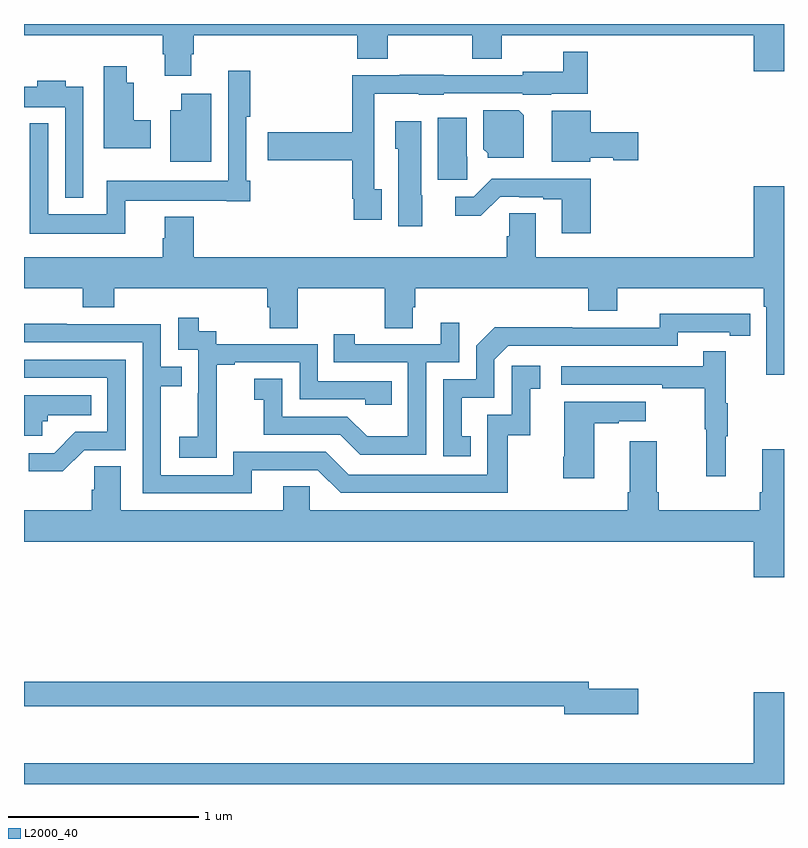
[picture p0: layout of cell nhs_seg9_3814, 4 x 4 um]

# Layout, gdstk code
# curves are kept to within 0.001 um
import gdstk
lib = gdstk.Library(unit=1e-6, precision=1e-09)
def P(c, l, *ps):  # polygons
    for p in ps: c.add(gdstk.Polygon(p, *l))
L2000_40 = (2000, 40)

nhs_seg9_3814 = lib.new_cell('nhs_seg9_3814')
P(nhs_seg9_3814, L2000_40, [(329.881,1176.342),(329.894,1176.342),(329.894,1176.44),(330.755,1176.44),(330.755,1176.316),(330.915,1176.316),(330.915,1176.44),(331.36,1176.44),(331.36,1176.316),(331.515,1176.316),(331.515,1176.44),(332.84,1176.44),(332.84,1176.252),(333,1176.252),(333,1176.5),(329,1176.5),(329,1176.44),(329.729,1176.44),(329.729,1176.342),(329.741,1176.342),(329.741,1176.228),(329.881,1176.228)],
  [(330.883,1175.63),(330.843,1175.63),(330.843,1176.134),(331.077,1176.134),(331.077,1176.128),(331.209,1176.128),(331.209,1176.135),(331.626,1176.135),(331.626,1176.128),(331.776,1176.128),(331.776,1176.134),(331.967,1176.134),(331.967,1176.355),(331.839,1176.355),(331.839,1176.25),(331.626,1176.25),(331.626,1176.231),(331.209,1176.231),(331.209,1176.233),(330.977,1176.233),(330.977,1176.231),(330.727,1176.231),(330.727,1175.93),(330.282,1175.93),(330.282,1175.783),(330.727,1175.783),(330.727,1175.581),(330.735,1175.581),(330.735,1175.469),(330.883,1175.469)],
  [(329.668,1175.994),(329.578,1175.994),(329.578,1176.19),(329.542,1176.19),(329.542,1176.277),(329.42,1176.277),(329.42,1175.846),(329.668,1175.846)],
  [(329.534,1175.57),(330.068,1175.57),(330.068,1175.568),(330.191,1175.568),(330.191,1175.674),(330.171,1175.674),(330.171,1176.013),(330.191,1176.013),(330.191,1176.253),(330.075,1176.253),(330.075,1175.674),(329.436,1175.674),(329.436,1175.5),(329.127,1175.5),(329.127,1175.977),(329.03,1175.977),(329.03,1175.396),(329.534,1175.396)],
  [(329.313,1176.169),(329.221,1176.169),(329.221,1176.202),(329.069,1176.202),(329.069,1176.169),(329,1176.169),(329,1176.062),(329.217,1176.062),(329.217,1175.585),(329.313,1175.585)],
  [(329.986,1176.133),(329.828,1176.133),(329.828,1176.046),(329.771,1176.046),(329.771,1175.774),(329.986,1175.774)],
  [(331.63,1176.02),(331.604,1176.046),(331.418,1176.046),(331.418,1175.842),(331.44,1175.82),(331.44,1175.795),(331.63,1175.795)],
  [(331.98,1175.795),(332.1,1175.795),(332.1,1175.783),(332.233,1175.783),(332.233,1175.93),(331.984,1175.93),(331.984,1176.044),(331.778,1176.044),(331.778,1175.774),(331.98,1175.774)],
  [(331.334,1175.802),(331.33,1175.802),(331.33,1176.007),(331.178,1176.007),(331.178,1175.679),(331.334,1175.679)],
  [(331.096,1175.598),(331.09,1175.598),(331.09,1175.989),(330.953,1175.989),(330.953,1175.844),(330.971,1175.844),(330.971,1175.436),(331.096,1175.436)],
  [(331.982,1175.686),(331.462,1175.686),(331.368,1175.592),(331.269,1175.592),(331.269,1175.49),(331.404,1175.49),(331.506,1175.592),(331.606,1175.592),(331.606,1175.589),(331.733,1175.589),(331.733,1175.577),(331.829,1175.577),(331.829,1175.4),(331.982,1175.4)],
  [(333,1175.647),(332.84,1175.647),(332.84,1175.272),(331.693,1175.272),(331.693,1175.504),(331.554,1175.504),(331.554,1175.382),(331.541,1175.382),(331.541,1175.272),(329.894,1175.272),(329.894,1175.485),(329.741,1175.485),(329.741,1175.373),(329.729,1175.373),(329.729,1175.272),(329,1175.272),(329,1175.108),(329.309,1175.108),(329.309,1175.009),(329.474,1175.009),(329.474,1175.108),(330.281,1175.108),(330.281,1175.01),(330.293,1175.01),(330.293,1174.9),(330.441,1174.9),(330.441,1175.108),(330.898,1175.108),(330.898,1174.9),(331.045,1174.9),(331.045,1175.01),(331.058,1175.01),(331.058,1175.108),(331.97,1175.108),(331.97,1174.991),(332.122,1174.991),(332.122,1175.108),(332.894,1175.108),(332.894,1175.012),(332.907,1175.012),(332.907,1174.653),(333,1174.653)],
  [(331.352,1174.329),(331.303,1174.329),(331.303,1174.533),(331.476,1174.533),(331.476,1174.734),(331.548,1174.806),(332.442,1174.806),(332.442,1174.878),(332.714,1174.878),(332.714,1174.858),(332.822,1174.858),(332.822,1174.974),(332.346,1174.975),(332.346,1174.902),(331.886,1174.902),(331.886,1174.904),(331.478,1174.904),(331.38,1174.806),(331.38,1174.629),(331.206,1174.629),(331.206,1174.224),(331.352,1174.224)],
  [(330.015,1174.423),(330.014,1174.423),(330.014,1174.707),(330.109,1174.707),(330.109,1174.719),(330.45,1174.719),(330.45,1174.524),(330.795,1174.524),(330.795,1174.497),(330.935,1174.497),(330.935,1174.62),(330.546,1174.62),(330.546,1174.815),(330.012,1174.815),(330.012,1174.884),(329.92,1174.884),(329.92,1174.954),(329.811,1174.954),(329.811,1174.785),(329.916,1174.785),(329.916,1174.556),(329.915,1174.556),(329.915,1174.327),(329.817,1174.327),(329.817,1174.217),(330.015,1174.217)],
  [(331.116,1174.719),(331.29,1174.719),(331.29,1174.927),(331.193,1174.927),(331.193,1174.815),(330.742,1174.815),(330.742,1174.867),(330.631,1174.867),(330.631,1174.719),(331.02,1174.719),(331.02,1174.33),(330.806,1174.33),(330.702,1174.434),(330.36,1174.434),(330.36,1174.633),(330.213,1174.633),(330.213,1174.523),(330.262,1174.523),(330.262,1174.338),(330.665,1174.338),(330.77,1174.233),(331.116,1174.233)],
  [(330.199,1174.152),(330.546,1174.152),(330.666,1174.032),(331.546,1174.032),(331.546,1174.335),(331.664,1174.335),(331.664,1174.581),(331.717,1174.581),(331.717,1174.702),(331.566,1174.702),(331.566,1174.443),(331.437,1174.443),(331.437,1174.128),(330.708,1174.128),(330.588,1174.248),(330.102,1174.248),(330.102,1174.125),(329.721,1174.125),(329.721,1174.594),(329.831,1174.594),(329.831,1174.695),(329.721,1174.695),(329.721,1174.92),(329.225,1174.92),(329.225,1174.922),(329,1174.922),(329,1174.824),(329.625,1174.824),(329.625,1174.029),(330.199,1174.029)],
  [(332.693,1174.331),(332.704,1174.331),(332.704,1174.505),(332.693,1174.505),(332.693,1174.777),(332.575,1174.777),(332.575,1174.698),(331.827,1174.698),(331.827,1174.602),(332.359,1174.602),(332.359,1174.582),(332.583,1174.582),(332.583,1174.368),(332.59,1174.368),(332.59,1174.119),(332.693,1174.119)],
  [(329.316,1174.257),(329.535,1174.257),(329.535,1174.734),(329.001,1174.734),(329.001,1174.638),(329.439,1174.638),(329.439,1174.353),(329.27,1174.353),(329.159,1174.242),(329.025,1174.242),(329.025,1174.145),(329.203,1174.145)],
  [(329.097,1174.41),(329.124,1174.41),(329.124,1174.442),(329.354,1174.442),(329.354,1174.546),(329,1174.546),(329,1174.334),(329.097,1174.334)],
  [(332.002,1174.399),(332.129,1174.399),(332.129,1174.409),(332.272,1174.409),(332.272,1174.513),(331.844,1174.513),(331.844,1174.222),(331.837,1174.222),(331.837,1174.11),(332.002,1174.11)],
  [(332.84,1173.588),(333,1173.588),(333,1174.261),(332.885,1174.261),(332.885,1174.036),(332.873,1174.036),(332.873,1173.94),(332.342,1173.94),(332.342,1174.036),(332.329,1174.036),(332.329,1174.303),(332.189,1174.303),(332.189,1174.036),(332.177,1174.036),(332.177,1173.94),(330.504,1173.94),(330.504,1174.067),(330.365,1174.067),(330.365,1173.94),(329.509,1173.94),(329.509,1174.172),(329.37,1174.172),(329.37,1174.049),(329.357,1174.049),(329.357,1173.94),(329,1173.94),(329,1173.776),(332.84,1173.776)],
  [(332.233,1173.002),(331.972,1173.002),(331.972,1173.038),(329,1173.038),(329,1172.91),(331.844,1172.91),(331.844,1172.867),(332.233,1172.867)],
  [(333,1172.983),(332.84,1172.983),(332.84,1172.608),(329,1172.608),(329,1172.5),(333,1172.5)])

lib.write_gds('nhs_seg9_3814.gds')
